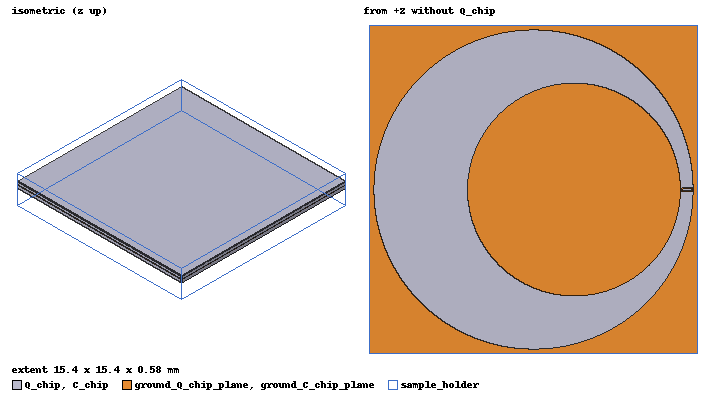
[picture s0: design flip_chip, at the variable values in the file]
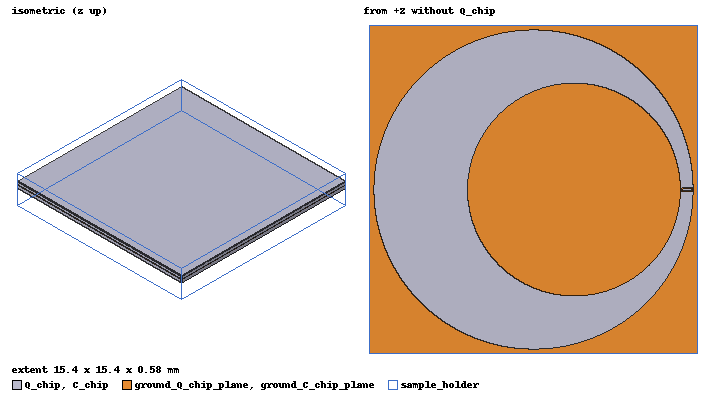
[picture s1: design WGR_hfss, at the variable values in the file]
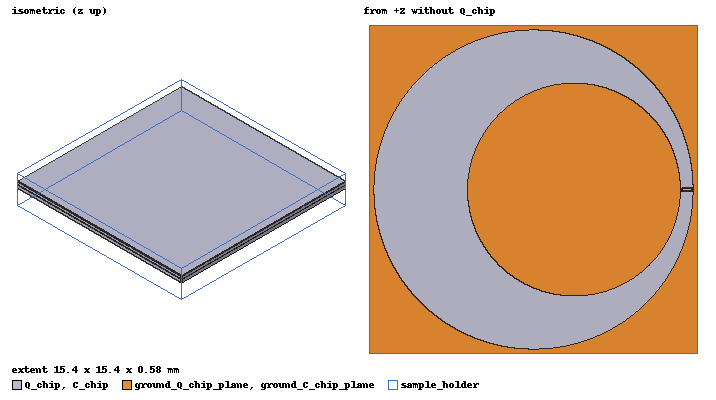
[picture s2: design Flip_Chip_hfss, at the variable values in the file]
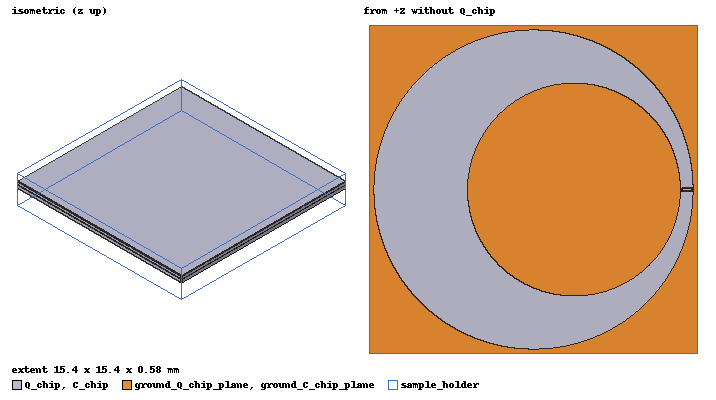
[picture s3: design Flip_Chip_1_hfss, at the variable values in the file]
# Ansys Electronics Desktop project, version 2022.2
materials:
  vacuum: permittivity=1
  silicon: permittivity=11.9

design flip_chip (HFSS, Eigenmode, model units mm)
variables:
  Lj = 10nH
  Cj = 0fF
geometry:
  final_design_3_0_Q1 = polyline(z=2e-05, xy: (0.0071770525, -0.0021771351) (0.0069290965, -0.0028701257) (0.0066144095, -0.0035354755) (0.0062360221, -0.0041667767) (0.0057975784, -0.0047579496) (0.0053033009, -0.0053033009) (0.0047579496, -0.0057975784) (0.0041667767, -0.0062360221) (0.0035354755, -0.0066144095) (0.0028701257, -0.0069290965) (0.0021771351, -0.0071770525) (0.0014631774, -0.0073558896) (0.00073512855, -0.0074638854) (0, -0.0075) (-0.00073512855, -0.0074638854) (-0.0014631774, -0.0073558896) (-0.0021771351, -0.0071770525) (-0.0028701257, -0.0069290965) (-0.0035354755, -0.0066144095) (-0.0041667767, -0.0062360221) (-0.0047579496, -0.0057975784) (-0.0053033009, -0.0053033009) (-0.0057975784, -0.0047579496) (-0.0062360221, -0.0041667767) (-0.0066144095, -0.0035354755) (-0.0069290965, -0.0028701257) (-0.0071770525, -0.0021771351) (-0.0073558896, -0.0014631774) (-0.0074638854, -0.00073512855) (-0.0075, 0) (-0.0074638854, 0.00073512855) (-0.0073558896, 0.0014631774) (-0.0071770525, 0.0021771351) (-0.0069290965, 0.0028701257) (-0.0066144095, 0.0035354755) (-0.0062360221, 0.0041667767) (-0.0057975784, 0.0047579496) (-0.0053033009, 0.0053033009) (-0.0047579496, 0.0057975784) (-0.0041667767, 0.0062360221) (-0.0035354755, 0.0066144095) (-0.0028701257, 0.0069290965) (-0.0021771351, 0.0071770525) (-0.0014631774, 0.0073558896) (-0.00073512855, 0.0074638854) (0, 0.0075) (0.00073512855, 0.0074638854) (0.0014631774, 0.0073558896) (0.0021771351, 0.0071770525) (0.0028701257, 0.0069290965) (0.0035354755, 0.0066144095) (0.0041667767, 0.0062360221) (0.0047579496, 0.0057975784) (0.0053033009, 0.0053033009) (0.0057975784, 0.0047579496) (0.0062360221, 0.0041667767) (0.0066144095, 0.0035354755) (0.0069290965, 0.0028701257) (0.0071770525, 0.0021771351) (0.0073558896, 0.0014631774) (0.0074638854, 0.00073512855) (0.0075, 0) (0.0074638854, -0.00073512855) (0.0073558896, -0.0014631774) (0.0071770525, -0.0021771351), closed, covered)
  Polyline1 = polyline(z=2e-05, xy: (0.00695, 0.000115) (0.00695, -0.000115) (0.00745, -0.000115) (0.00745, 0.000115) (0.00695, 0.000115), closed, covered)
  final_design_3_0_Q1.subtract(Polyline1)
  Polyline2 = polyline(z=2e-05, xy: (0.0068759236, 0.0004900857) (0.0068039264, 0.00097545161) (0.0066847017, 0.0014514234) (0.0065193977, 0.0019134172) (0.0063096063, 0.0023569837) (0.0060573481, 0.0027778512) (0.0057650523, 0.0031719664) (0.0054355339, 0.0035355339) (0.0050719664, 0.0038650523) (0.0046778512, 0.0041573481) (0.0042569837, 0.0044096063) (0.0038134172, 0.0046193977) (0.0033514234, 0.0047847017) (0.0028754516, 0.0049039264) (0.0023900857, 0.0049759236) (0.0019, 0.005) (0.0014099143, 0.0049759236) (0.00092454839, 0.0049039264) (0.00044857661, 0.0047847017) (-1.3417162e-05, 0.0046193977) (-0.00045698368, 0.0044096063) (-0.00087785117, 0.0041573481) (-0.0012719664, 0.0038650523) (-0.0016355339, 0.0035355339) (-0.0019650523, 0.0031719664) (-0.0022573481, 0.0027778512) (-0.0025096063, 0.0023569837) (-0.0027193977, 0.0019134172) (-0.0028847017, 0.0014514234) (-0.0030039264, 0.00097545161) (-0.0030759236, 0.0004900857) (-0.0031, 0) (-0.0030759236, -0.0004900857) (-0.0030039264, -0.00097545161) (-0.0028847017, -0.0014514234) (-0.0027193977, -0.0019134172) (-0.0025096063, -0.0023569837) (-0.0022573481, -0.0027778512) (-0.0019650523, -0.0031719664) (-0.0016355339, -0.0035355339) (-0.0012719664, -0.0038650523) (-0.00087785117, -0.0041573481) (-0.00045698368, -0.0044096063) (-1.3417162e-05, -0.0046193977) (0.00044857661, -0.0047847017) (0.00092454839, -0.0049039264) (0.0014099143, -0.0049759236) (0.0019, -0.005) (0.0023900857, -0.0049759236) (0.0028754516, -0.0049039264) (0.0033514234, -0.0047847017) (0.0038134172, -0.0046193977) (0.0042569837, -0.0044096063) (0.0046778512, -0.0041573481) (0.0050719664, -0.0038650523) (0.0054355339, -0.0035355339) (0.0057650523, -0.0031719664) (0.0060573481, -0.0027778512) (0.0063096063, -0.0023569837) (0.0065193977, -0.0019134172) (0.0066847017, -0.0014514234) (0.0068039264, -0.00097545161) (0.0068759236, -0.0004900857) (0.0069, 0) (0.0068759236, 0.0004900857), closed, covered)
  final_design_3_0_Q1.subtract(Polyline2)
  final_design_3_1_Q1 = rectangle(corner=(0.006975, -6e-05, 2e-05), x_size=0.00045, y_size=0.00012)
  final_design_3_Q2 = polyline(z=0, xy: (0.0074638854, -0.00073512855) (0.0073558896, -0.0014631774) (0.0071770525, -0.0021771351) (0.0069290965, -0.0028701257) (0.0066144095, -0.0035354755) (0.0062360221, -0.0041667767) (0.0057975784, -0.0047579496) (0.0053033009, -0.0053033009) (0.0047579496, -0.0057975784) (0.0041667767, -0.0062360221) (0.0035354755, -0.0066144095) (0.0028701257, -0.0069290965) (0.0021771351, -0.0071770525) (0.0014631774, -0.0073558896) (0.00073512855, -0.0074638854) (0, -0.0075) (-0.00073512855, -0.0074638854) (-0.0014631774, -0.0073558896) (-0.0021771351, -0.0071770525) (-0.0028701257, -0.0069290965) (-0.0035354755, -0.0066144095) (-0.0041667767, -0.0062360221) (-0.0047579496, -0.0057975784) (-0.0053033009, -0.0053033009) (-0.0057975784, -0.0047579496) (-0.0062360221, -0.0041667767) (-0.0066144095, -0.0035354755) (-0.0069290965, -0.0028701257) (-0.0071770525, -0.0021771351) (-0.0073558896, -0.0014631774) (-0.0074638854, -0.00073512855) (-0.0075, 0) (-0.0074638854, 0.00073512855) (-0.0073558896, 0.0014631774) (-0.0071770525, 0.0021771351) (-0.0069290965, 0.0028701257) (-0.0066144095, 0.0035354755) (-0.0062360221, 0.0041667767) (-0.0057975784, 0.0047579496) (-0.0053033009, 0.0053033009) (-0.0047579496, 0.0057975784) (-0.0041667767, 0.0062360221) (-0.0035354755, 0.0066144095) (-0.0028701257, 0.0069290965) (-0.0021771351, 0.0071770525) (-0.0014631774, 0.0073558896) (-0.00073512855, 0.0074638854) (0, 0.0075) (0.00073512855, 0.0074638854) (0.0014631774, 0.0073558896) (0.0021771351, 0.0071770525) (0.0028701257, 0.0069290965) (0.0035354755, 0.0066144095) (0.0041667767, 0.0062360221) (0.0047579496, 0.0057975784) (0.0053033009, 0.0053033009) (0.0057975784, 0.0047579496) (0.0062360221, 0.0041667767) (0.0066144095, 0.0035354755) (0.0069290965, 0.0028701257) (0.0071770525, 0.0021771351) (0.0073558896, 0.0014631774) (0.0074638854, 0.00073512855) (0.0075, 0) (0.0074638854, -0.00073512855), closed, covered)
  Polyline3 = polyline(z=0, xy: (0.0068759236, 0.0004900857) (0.0068039264, 0.00097545161) (0.0066847017, 0.0014514234) (0.0065193977, 0.0019134172) (0.0063096063, 0.0023569837) (0.0060573481, 0.0027778512) (0.0057650523, 0.0031719664) (0.0054355339, 0.0035355339) (0.0050719664, 0.0038650523) (0.0046778512, 0.0041573481) (0.0042569837, 0.0044096063) (0.0038134172, 0.0046193977) (0.0033514234, 0.0047847017) (0.0028754516, 0.0049039264) (0.0023900857, 0.0049759236) (0.0019, 0.005) (0.0014099143, 0.0049759236) (0.00092454839, 0.0049039264) (0.00044857661, 0.0047847017) (-1.3417162e-05, 0.0046193977) (-0.00045698368, 0.0044096063) (-0.00087785117, 0.0041573481) (-0.0012719664, 0.0038650523) (-0.0016355339, 0.0035355339) (-0.0019650523, 0.0031719664) (-0.0022573481, 0.0027778512) (-0.0025096063, 0.0023569837) (-0.0027193977, 0.0019134172) (-0.0028847017, 0.0014514234) (-0.0030039264, 0.00097545161) (-0.0030759236, 0.0004900857) (-0.0031, 0) (-0.0030759236, -0.0004900857) (-0.0030039264, -0.00097545161) (-0.0028847017, -0.0014514234) (-0.0027193977, -0.0019134172) (-0.0025096063, -0.0023569837) (-0.0022573481, -0.0027778512) (-0.0019650523, -0.0031719664) (-0.0016355339, -0.0035355339) (-0.0012719664, -0.0038650523) (-0.00087785117, -0.0041573481) (-0.00045698368, -0.0044096063) (-1.3417162e-05, -0.0046193977) (0.00044857661, -0.0047847017) (0.00092454839, -0.0049039264) (0.0014099143, -0.0049759236) (0.0019, -0.005) (0.0023900857, -0.0049759236) (0.0028754516, -0.0049039264) (0.0033514234, -0.0047847017) (0.0038134172, -0.0046193977) (0.0042569837, -0.0044096063) (0.0046778512, -0.0041573481) (0.0050719664, -0.0038650523) (0.0054355339, -0.0035355339) (0.0057650523, -0.0031719664) (0.0060573481, -0.0027778512) (0.0063096063, -0.0023569837) (0.0065193977, -0.0019134172) (0.0066847017, -0.0014514234) (0.0068039264, -0.00097545161) (0.0068759236, -0.0004900857) (0.0069, 0) (0.0068759236, 0.0004900857), closed, covered)
  final_design_3_Q2.subtract(Polyline3)
  JJ_rect_Lj_Q1_joseph = rectangle(corner=(0.00695, -1.25e-05, 2e-05), x_size=2.5e-05, y_size=2.5e-05)
  JJ_Lj_Q1_joseph_ = polyline((0.00695, 0, 2e-05) (0.006975, 0, 2e-05))
  ground_Q_chip_plane = rectangle(corner=(-0.0077, -0.0077, 2e-05), x_size=0.0154, y_size=0.0154)
  Q_chip [silicon] = box(corner=(-0.0077, -0.0077, 0.0003), size=(0.0154, 0.0154, -0.00028))
  ground_C_chip_plane = rectangle(corner=(-0.0077, -0.0077, 0), x_size=0.0154, y_size=0.0154)
  C_chip [silicon] = box(corner=(-0.0077, -0.0077, -0.00028), size=(0.0154, 0.0154, 0.00028))
  sample_holder [vacuum] = box(corner=(-0.0077, -0.0077, -0.00165), size=(0.0154, 0.0154, 0.00254))
  ground_Q_chip_plane.subtract(final_design_3_0_Q1, final_design_3_1_Q1)
  ground_C_chip_plane.subtract(final_design_3_Q2)
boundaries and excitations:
  Lj_Lj_Q1_joseph: Lumped RLC Objects=JJ_rect_Lj_Q1_joseph CurrentLine{(6.95, 0, 0.02) -> (6.975, 0, 0.02)} RLC_Type=Parallel Inductance=10nH
  PerfE: Perfect E Objects=[ground_Q_chip_plane, ground_C_chip_plane]
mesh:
  small_mesh: LengthBased Objects=JJ_rect_Lj_Q1_joseph MaxLength=7um
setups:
  Setup: HfssEigen MinimumFrequency=1GHz NumModes=3 MaxDeltaFreq=0.5 ConvergeOnRealFreq=true MaximumPasses=20 MinimumPasses=1 MinimumConvergedPasses=1 PercentRefinement=30 BasisOrder=1
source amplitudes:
  #-10:1: 1 0deg
  #-10:2, #-10:3: 0 0deg
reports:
  Freq. vs. pass: re(Mode(1)), re(Mode(2)), re(Mode(3)) vs Pass on Setup : AdaptivePass

design WGR_hfss (HFSS, Eigenmode, model units mm)
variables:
  Lj = 10nH
  Cj = 0fF
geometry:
  final_design_3_0_Q1 = polyline(z=2e-05, xy: (0.0071770525, -0.0021771351) (0.0069290965, -0.0028701257) (0.0066144095, -0.0035354755) (0.0062360221, -0.0041667767) (0.0057975784, -0.0047579496) (0.0053033009, -0.0053033009) (0.0047579496, -0.0057975784) (0.0041667767, -0.0062360221) (0.0035354755, -0.0066144095) (0.0028701257, -0.0069290965) (0.0021771351, -0.0071770525) (0.0014631774, -0.0073558896) (0.00073512855, -0.0074638854) (0, -0.0075) (-0.00073512855, -0.0074638854) (-0.0014631774, -0.0073558896) (-0.0021771351, -0.0071770525) (-0.0028701257, -0.0069290965) (-0.0035354755, -0.0066144095) (-0.0041667767, -0.0062360221) (-0.0047579496, -0.0057975784) (-0.0053033009, -0.0053033009) (-0.0057975784, -0.0047579496) (-0.0062360221, -0.0041667767) (-0.0066144095, -0.0035354755) (-0.0069290965, -0.0028701257) (-0.0071770525, -0.0021771351) (-0.0073558896, -0.0014631774) (-0.0074638854, -0.00073512855) (-0.0075, 0) (-0.0074638854, 0.00073512855) (-0.0073558896, 0.0014631774) (-0.0071770525, 0.0021771351) (-0.0069290965, 0.0028701257) (-0.0066144095, 0.0035354755) (-0.0062360221, 0.0041667767) (-0.0057975784, 0.0047579496) (-0.0053033009, 0.0053033009) (-0.0047579496, 0.0057975784) (-0.0041667767, 0.0062360221) (-0.0035354755, 0.0066144095) (-0.0028701257, 0.0069290965) (-0.0021771351, 0.0071770525) (-0.0014631774, 0.0073558896) (-0.00073512855, 0.0074638854) (0, 0.0075) (0.00073512855, 0.0074638854) (0.0014631774, 0.0073558896) (0.0021771351, 0.0071770525) (0.0028701257, 0.0069290965) (0.0035354755, 0.0066144095) (0.0041667767, 0.0062360221) (0.0047579496, 0.0057975784) (0.0053033009, 0.0053033009) (0.0057975784, 0.0047579496) (0.0062360221, 0.0041667767) (0.0066144095, 0.0035354755) (0.0069290965, 0.0028701257) (0.0071770525, 0.0021771351) (0.0073558896, 0.0014631774) (0.0074638854, 0.00073512855) (0.0075, 0) (0.0074638854, -0.00073512855) (0.0073558896, -0.0014631774) (0.0071770525, -0.0021771351), closed, covered)
  Polyline1 = polyline(z=2e-05, xy: (0.00695, 0.000115) (0.00695, -0.000115) (0.00745, -0.000115) (0.00745, 0.000115) (0.00695, 0.000115), closed, covered)
  final_design_3_0_Q1.subtract(Polyline1)
  Polyline2 = polyline(z=2e-05, xy: (0.0068759236, 0.0004900857) (0.0068039264, 0.00097545161) (0.0066847017, 0.0014514234) (0.0065193977, 0.0019134172) (0.0063096063, 0.0023569837) (0.0060573481, 0.0027778512) (0.0057650523, 0.0031719664) (0.0054355339, 0.0035355339) (0.0050719664, 0.0038650523) (0.0046778512, 0.0041573481) (0.0042569837, 0.0044096063) (0.0038134172, 0.0046193977) (0.0033514234, 0.0047847017) (0.0028754516, 0.0049039264) (0.0023900857, 0.0049759236) (0.0019, 0.005) (0.0014099143, 0.0049759236) (0.00092454839, 0.0049039264) (0.00044857661, 0.0047847017) (-1.3417162e-05, 0.0046193977) (-0.00045698368, 0.0044096063) (-0.00087785117, 0.0041573481) (-0.0012719664, 0.0038650523) (-0.0016355339, 0.0035355339) (-0.0019650523, 0.0031719664) (-0.0022573481, 0.0027778512) (-0.0025096063, 0.0023569837) (-0.0027193977, 0.0019134172) (-0.0028847017, 0.0014514234) (-0.0030039264, 0.00097545161) (-0.0030759236, 0.0004900857) (-0.0031, 0) (-0.0030759236, -0.0004900857) (-0.0030039264, -0.00097545161) (-0.0028847017, -0.0014514234) (-0.0027193977, -0.0019134172) (-0.0025096063, -0.0023569837) (-0.0022573481, -0.0027778512) (-0.0019650523, -0.0031719664) (-0.0016355339, -0.0035355339) (-0.0012719664, -0.0038650523) (-0.00087785117, -0.0041573481) (-0.00045698368, -0.0044096063) (-1.3417162e-05, -0.0046193977) (0.00044857661, -0.0047847017) (0.00092454839, -0.0049039264) (0.0014099143, -0.0049759236) (0.0019, -0.005) (0.0023900857, -0.0049759236) (0.0028754516, -0.0049039264) (0.0033514234, -0.0047847017) (0.0038134172, -0.0046193977) (0.0042569837, -0.0044096063) (0.0046778512, -0.0041573481) (0.0050719664, -0.0038650523) (0.0054355339, -0.0035355339) (0.0057650523, -0.0031719664) (0.0060573481, -0.0027778512) (0.0063096063, -0.0023569837) (0.0065193977, -0.0019134172) (0.0066847017, -0.0014514234) (0.0068039264, -0.00097545161) (0.0068759236, -0.0004900857) (0.0069, 0) (0.0068759236, 0.0004900857), closed, covered)
  final_design_3_0_Q1.subtract(Polyline2)
  final_design_3_1_Q1 = rectangle(corner=(0.006975, -6e-05, 2e-05), x_size=0.00045, y_size=0.00012)
  final_design_3_Q2 = polyline(z=0, xy: (0.0074638854, -0.00073512855) (0.0073558896, -0.0014631774) (0.0071770525, -0.0021771351) (0.0069290965, -0.0028701257) (0.0066144095, -0.0035354755) (0.0062360221, -0.0041667767) (0.0057975784, -0.0047579496) (0.0053033009, -0.0053033009) (0.0047579496, -0.0057975784) (0.0041667767, -0.0062360221) (0.0035354755, -0.0066144095) (0.0028701257, -0.0069290965) (0.0021771351, -0.0071770525) (0.0014631774, -0.0073558896) (0.00073512855, -0.0074638854) (0, -0.0075) (-0.00073512855, -0.0074638854) (-0.0014631774, -0.0073558896) (-0.0021771351, -0.0071770525) (-0.0028701257, -0.0069290965) (-0.0035354755, -0.0066144095) (-0.0041667767, -0.0062360221) (-0.0047579496, -0.0057975784) (-0.0053033009, -0.0053033009) (-0.0057975784, -0.0047579496) (-0.0062360221, -0.0041667767) (-0.0066144095, -0.0035354755) (-0.0069290965, -0.0028701257) (-0.0071770525, -0.0021771351) (-0.0073558896, -0.0014631774) (-0.0074638854, -0.00073512855) (-0.0075, 0) (-0.0074638854, 0.00073512855) (-0.0073558896, 0.0014631774) (-0.0071770525, 0.0021771351) (-0.0069290965, 0.0028701257) (-0.0066144095, 0.0035354755) (-0.0062360221, 0.0041667767) (-0.0057975784, 0.0047579496) (-0.0053033009, 0.0053033009) (-0.0047579496, 0.0057975784) (-0.0041667767, 0.0062360221) (-0.0035354755, 0.0066144095) (-0.0028701257, 0.0069290965) (-0.0021771351, 0.0071770525) (-0.0014631774, 0.0073558896) (-0.00073512855, 0.0074638854) (0, 0.0075) (0.00073512855, 0.0074638854) (0.0014631774, 0.0073558896) (0.0021771351, 0.0071770525) (0.0028701257, 0.0069290965) (0.0035354755, 0.0066144095) (0.0041667767, 0.0062360221) (0.0047579496, 0.0057975784) (0.0053033009, 0.0053033009) (0.0057975784, 0.0047579496) (0.0062360221, 0.0041667767) (0.0066144095, 0.0035354755) (0.0069290965, 0.0028701257) (0.0071770525, 0.0021771351) (0.0073558896, 0.0014631774) (0.0074638854, 0.00073512855) (0.0075, 0) (0.0074638854, -0.00073512855), closed, covered)
  Polyline3 = polyline(z=0, xy: (0.0068759236, 0.0004900857) (0.0068039264, 0.00097545161) (0.0066847017, 0.0014514234) (0.0065193977, 0.0019134172) (0.0063096063, 0.0023569837) (0.0060573481, 0.0027778512) (0.0057650523, 0.0031719664) (0.0054355339, 0.0035355339) (0.0050719664, 0.0038650523) (0.0046778512, 0.0041573481) (0.0042569837, 0.0044096063) (0.0038134172, 0.0046193977) (0.0033514234, 0.0047847017) (0.0028754516, 0.0049039264) (0.0023900857, 0.0049759236) (0.0019, 0.005) (0.0014099143, 0.0049759236) (0.00092454839, 0.0049039264) (0.00044857661, 0.0047847017) (-1.3417162e-05, 0.0046193977) (-0.00045698368, 0.0044096063) (-0.00087785117, 0.0041573481) (-0.0012719664, 0.0038650523) (-0.0016355339, 0.0035355339) (-0.0019650523, 0.0031719664) (-0.0022573481, 0.0027778512) (-0.0025096063, 0.0023569837) (-0.0027193977, 0.0019134172) (-0.0028847017, 0.0014514234) (-0.0030039264, 0.00097545161) (-0.0030759236, 0.0004900857) (-0.0031, 0) (-0.0030759236, -0.0004900857) (-0.0030039264, -0.00097545161) (-0.0028847017, -0.0014514234) (-0.0027193977, -0.0019134172) (-0.0025096063, -0.0023569837) (-0.0022573481, -0.0027778512) (-0.0019650523, -0.0031719664) (-0.0016355339, -0.0035355339) (-0.0012719664, -0.0038650523) (-0.00087785117, -0.0041573481) (-0.00045698368, -0.0044096063) (-1.3417162e-05, -0.0046193977) (0.00044857661, -0.0047847017) (0.00092454839, -0.0049039264) (0.0014099143, -0.0049759236) (0.0019, -0.005) (0.0023900857, -0.0049759236) (0.0028754516, -0.0049039264) (0.0033514234, -0.0047847017) (0.0038134172, -0.0046193977) (0.0042569837, -0.0044096063) (0.0046778512, -0.0041573481) (0.0050719664, -0.0038650523) (0.0054355339, -0.0035355339) (0.0057650523, -0.0031719664) (0.0060573481, -0.0027778512) (0.0063096063, -0.0023569837) (0.0065193977, -0.0019134172) (0.0066847017, -0.0014514234) (0.0068039264, -0.00097545161) (0.0068759236, -0.0004900857) (0.0069, 0) (0.0068759236, 0.0004900857), closed, covered)
  final_design_3_Q2.subtract(Polyline3)
  JJ_rect_Lj_Q1_joseph = rectangle(corner=(0.00695, -1.25e-05, 2e-05), x_size=2.5e-05, y_size=2.5e-05)
  JJ_Lj_Q1_joseph_ = polyline((0.00695, 0, 2e-05) (0.006975, 0, 2e-05))
  ground_Q_chip_plane = rectangle(corner=(-0.0077, -0.0077, 2e-05), x_size=0.0154, y_size=0.0154)
  Q_chip [silicon] = box(corner=(-0.0077, -0.0077, 0.0003), size=(0.0154, 0.0154, -0.00028))
  ground_C_chip_plane = rectangle(corner=(-0.0077, -0.0077, 0), x_size=0.0154, y_size=0.0154)
  C_chip [silicon] = box(corner=(-0.0077, -0.0077, -0.00028), size=(0.0154, 0.0154, 0.00028))
  sample_holder [vacuum] = box(corner=(-0.0077, -0.0077, -0.00165), size=(0.0154, 0.0154, 0.00254))
  ground_Q_chip_plane.subtract(final_design_3_1_Q1, final_design_3_0_Q1)
  ground_C_chip_plane.subtract(final_design_3_Q2)
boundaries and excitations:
  Lj_Lj_Q1_joseph: Lumped RLC Objects=JJ_rect_Lj_Q1_joseph CurrentLine{(6.95, 0, 0.02) -> (6.975, 0, 0.02)} RLC_Type=Parallel Inductance=10nH
  PerfE: Perfect E Objects=[ground_Q_chip_plane, ground_C_chip_plane]
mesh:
  small_mesh: LengthBased Objects=JJ_rect_Lj_Q1_joseph MaxLength=7um
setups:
  Setup: HfssEigen MinimumFrequency=1.5GHz NumModes=3 MaxDeltaFreq=2 ConvergeOnRealFreq=true MaximumPasses=20 MinimumPasses=1 MinimumConvergedPasses=1 PercentRefinement=30 BasisOrder=1
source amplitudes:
  #-10:1: 1 0deg
  #-10:2, #-10:3: 0 0deg
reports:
  Freq. vs. pass: re(Mode(1)), re(Mode(2)), re(Mode(3)) vs Pass on Setup : AdaptivePass

design Flip_Chip_hfss (HFSS, Eigenmode, model units mm)
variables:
  Lj = 10nH
  Cj = 0fF
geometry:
  final_design_3_0_Q1 = polyline(z=2e-05, xy: (0.0071770525, -0.0021771351) (0.0069290965, -0.0028701257) (0.0066144095, -0.0035354755) (0.0062360221, -0.0041667767) (0.0057975784, -0.0047579496) (0.0053033009, -0.0053033009) (0.0047579496, -0.0057975784) (0.0041667767, -0.0062360221) (0.0035354755, -0.0066144095) (0.0028701257, -0.0069290965) (0.0021771351, -0.0071770525) (0.0014631774, -0.0073558896) (0.00073512855, -0.0074638854) (0, -0.0075) (-0.00073512855, -0.0074638854) (-0.0014631774, -0.0073558896) (-0.0021771351, -0.0071770525) (-0.0028701257, -0.0069290965) (-0.0035354755, -0.0066144095) (-0.0041667767, -0.0062360221) (-0.0047579496, -0.0057975784) (-0.0053033009, -0.0053033009) (-0.0057975784, -0.0047579496) (-0.0062360221, -0.0041667767) (-0.0066144095, -0.0035354755) (-0.0069290965, -0.0028701257) (-0.0071770525, -0.0021771351) (-0.0073558896, -0.0014631774) (-0.0074638854, -0.00073512855) (-0.0075, 0) (-0.0074638854, 0.00073512855) (-0.0073558896, 0.0014631774) (-0.0071770525, 0.0021771351) (-0.0069290965, 0.0028701257) (-0.0066144095, 0.0035354755) (-0.0062360221, 0.0041667767) (-0.0057975784, 0.0047579496) (-0.0053033009, 0.0053033009) (-0.0047579496, 0.0057975784) (-0.0041667767, 0.0062360221) (-0.0035354755, 0.0066144095) (-0.0028701257, 0.0069290965) (-0.0021771351, 0.0071770525) (-0.0014631774, 0.0073558896) (-0.00073512855, 0.0074638854) (0, 0.0075) (0.00073512855, 0.0074638854) (0.0014631774, 0.0073558896) (0.0021771351, 0.0071770525) (0.0028701257, 0.0069290965) (0.0035354755, 0.0066144095) (0.0041667767, 0.0062360221) (0.0047579496, 0.0057975784) (0.0053033009, 0.0053033009) (0.0057975784, 0.0047579496) (0.0062360221, 0.0041667767) (0.0066144095, 0.0035354755) (0.0069290965, 0.0028701257) (0.0071770525, 0.0021771351) (0.0073558896, 0.0014631774) (0.0074638854, 0.00073512855) (0.0075, 0) (0.0074638854, -0.00073512855) (0.0073558896, -0.0014631774) (0.0071770525, -0.0021771351), closed, covered)
  Polyline1 = polyline(z=2e-05, xy: (0.00695, 0.000115) (0.00695, -0.000115) (0.00745, -0.000115) (0.00745, 0.000115) (0.00695, 0.000115), closed, covered)
  final_design_3_0_Q1.subtract(Polyline1)
  Polyline2 = polyline(z=2e-05, xy: (0.0068759236, 0.0004900857) (0.0068039264, 0.00097545161) (0.0066847017, 0.0014514234) (0.0065193977, 0.0019134172) (0.0063096063, 0.0023569837) (0.0060573481, 0.0027778512) (0.0057650523, 0.0031719664) (0.0054355339, 0.0035355339) (0.0050719664, 0.0038650523) (0.0046778512, 0.0041573481) (0.0042569837, 0.0044096063) (0.0038134172, 0.0046193977) (0.0033514234, 0.0047847017) (0.0028754516, 0.0049039264) (0.0023900857, 0.0049759236) (0.0019, 0.005) (0.0014099143, 0.0049759236) (0.00092454839, 0.0049039264) (0.00044857661, 0.0047847017) (-1.3417162e-05, 0.0046193977) (-0.00045698368, 0.0044096063) (-0.00087785117, 0.0041573481) (-0.0012719664, 0.0038650523) (-0.0016355339, 0.0035355339) (-0.0019650523, 0.0031719664) (-0.0022573481, 0.0027778512) (-0.0025096063, 0.0023569837) (-0.0027193977, 0.0019134172) (-0.0028847017, 0.0014514234) (-0.0030039264, 0.00097545161) (-0.0030759236, 0.0004900857) (-0.0031, 0) (-0.0030759236, -0.0004900857) (-0.0030039264, -0.00097545161) (-0.0028847017, -0.0014514234) (-0.0027193977, -0.0019134172) (-0.0025096063, -0.0023569837) (-0.0022573481, -0.0027778512) (-0.0019650523, -0.0031719664) (-0.0016355339, -0.0035355339) (-0.0012719664, -0.0038650523) (-0.00087785117, -0.0041573481) (-0.00045698368, -0.0044096063) (-1.3417162e-05, -0.0046193977) (0.00044857661, -0.0047847017) (0.00092454839, -0.0049039264) (0.0014099143, -0.0049759236) (0.0019, -0.005) (0.0023900857, -0.0049759236) (0.0028754516, -0.0049039264) (0.0033514234, -0.0047847017) (0.0038134172, -0.0046193977) (0.0042569837, -0.0044096063) (0.0046778512, -0.0041573481) (0.0050719664, -0.0038650523) (0.0054355339, -0.0035355339) (0.0057650523, -0.0031719664) (0.0060573481, -0.0027778512) (0.0063096063, -0.0023569837) (0.0065193977, -0.0019134172) (0.0066847017, -0.0014514234) (0.0068039264, -0.00097545161) (0.0068759236, -0.0004900857) (0.0069, 0) (0.0068759236, 0.0004900857), closed, covered)
  final_design_3_0_Q1.subtract(Polyline2)
  final_design_3_1_Q1 = rectangle(corner=(0.006975, -6e-05, 2e-05), x_size=0.00045, y_size=0.00012)
  final_design_3_Q2 = polyline(z=0, xy: (0.0074638854, -0.00073512855) (0.0073558896, -0.0014631774) (0.0071770525, -0.0021771351) (0.0069290965, -0.0028701257) (0.0066144095, -0.0035354755) (0.0062360221, -0.0041667767) (0.0057975784, -0.0047579496) (0.0053033009, -0.0053033009) (0.0047579496, -0.0057975784) (0.0041667767, -0.0062360221) (0.0035354755, -0.0066144095) (0.0028701257, -0.0069290965) (0.0021771351, -0.0071770525) (0.0014631774, -0.0073558896) (0.00073512855, -0.0074638854) (0, -0.0075) (-0.00073512855, -0.0074638854) (-0.0014631774, -0.0073558896) (-0.0021771351, -0.0071770525) (-0.0028701257, -0.0069290965) (-0.0035354755, -0.0066144095) (-0.0041667767, -0.0062360221) (-0.0047579496, -0.0057975784) (-0.0053033009, -0.0053033009) (-0.0057975784, -0.0047579496) (-0.0062360221, -0.0041667767) (-0.0066144095, -0.0035354755) (-0.0069290965, -0.0028701257) (-0.0071770525, -0.0021771351) (-0.0073558896, -0.0014631774) (-0.0074638854, -0.00073512855) (-0.0075, 0) (-0.0074638854, 0.00073512855) (-0.0073558896, 0.0014631774) (-0.0071770525, 0.0021771351) (-0.0069290965, 0.0028701257) (-0.0066144095, 0.0035354755) (-0.0062360221, 0.0041667767) (-0.0057975784, 0.0047579496) (-0.0053033009, 0.0053033009) (-0.0047579496, 0.0057975784) (-0.0041667767, 0.0062360221) (-0.0035354755, 0.0066144095) (-0.0028701257, 0.0069290965) (-0.0021771351, 0.0071770525) (-0.0014631774, 0.0073558896) (-0.00073512855, 0.0074638854) (0, 0.0075) (0.00073512855, 0.0074638854) (0.0014631774, 0.0073558896) (0.0021771351, 0.0071770525) (0.0028701257, 0.0069290965) (0.0035354755, 0.0066144095) (0.0041667767, 0.0062360221) (0.0047579496, 0.0057975784) (0.0053033009, 0.0053033009) (0.0057975784, 0.0047579496) (0.0062360221, 0.0041667767) (0.0066144095, 0.0035354755) (0.0069290965, 0.0028701257) (0.0071770525, 0.0021771351) (0.0073558896, 0.0014631774) (0.0074638854, 0.00073512855) (0.0075, 0) (0.0074638854, -0.00073512855), closed, covered)
  Polyline3 = polyline(z=0, xy: (0.0068759236, 0.0004900857) (0.0068039264, 0.00097545161) (0.0066847017, 0.0014514234) (0.0065193977, 0.0019134172) (0.0063096063, 0.0023569837) (0.0060573481, 0.0027778512) (0.0057650523, 0.0031719664) (0.0054355339, 0.0035355339) (0.0050719664, 0.0038650523) (0.0046778512, 0.0041573481) (0.0042569837, 0.0044096063) (0.0038134172, 0.0046193977) (0.0033514234, 0.0047847017) (0.0028754516, 0.0049039264) (0.0023900857, 0.0049759236) (0.0019, 0.005) (0.0014099143, 0.0049759236) (0.00092454839, 0.0049039264) (0.00044857661, 0.0047847017) (-1.3417162e-05, 0.0046193977) (-0.00045698368, 0.0044096063) (-0.00087785117, 0.0041573481) (-0.0012719664, 0.0038650523) (-0.0016355339, 0.0035355339) (-0.0019650523, 0.0031719664) (-0.0022573481, 0.0027778512) (-0.0025096063, 0.0023569837) (-0.0027193977, 0.0019134172) (-0.0028847017, 0.0014514234) (-0.0030039264, 0.00097545161) (-0.0030759236, 0.0004900857) (-0.0031, 0) (-0.0030759236, -0.0004900857) (-0.0030039264, -0.00097545161) (-0.0028847017, -0.0014514234) (-0.0027193977, -0.0019134172) (-0.0025096063, -0.0023569837) (-0.0022573481, -0.0027778512) (-0.0019650523, -0.0031719664) (-0.0016355339, -0.0035355339) (-0.0012719664, -0.0038650523) (-0.00087785117, -0.0041573481) (-0.00045698368, -0.0044096063) (-1.3417162e-05, -0.0046193977) (0.00044857661, -0.0047847017) (0.00092454839, -0.0049039264) (0.0014099143, -0.0049759236) (0.0019, -0.005) (0.0023900857, -0.0049759236) (0.0028754516, -0.0049039264) (0.0033514234, -0.0047847017) (0.0038134172, -0.0046193977) (0.0042569837, -0.0044096063) (0.0046778512, -0.0041573481) (0.0050719664, -0.0038650523) (0.0054355339, -0.0035355339) (0.0057650523, -0.0031719664) (0.0060573481, -0.0027778512) (0.0063096063, -0.0023569837) (0.0065193977, -0.0019134172) (0.0066847017, -0.0014514234) (0.0068039264, -0.00097545161) (0.0068759236, -0.0004900857) (0.0069, 0) (0.0068759236, 0.0004900857), closed, covered)
  final_design_3_Q2.subtract(Polyline3)
  JJ_rect_Lj_Q1_joseph = rectangle(corner=(0.00695, -2.5e-05, 2e-05), x_size=2.5e-05, y_size=5e-05)
  JJ_Lj_Q1_joseph_ = polyline((0.00695, 0, 2e-05) (0.006975, 0, 2e-05))
  ground_Q_chip_plane = rectangle(corner=(-0.0077, -0.0077, 2e-05), x_size=0.0154, y_size=0.0154)
  Q_chip [silicon] = box(corner=(-0.0077, -0.0077, 0.0003), size=(0.0154, 0.0154, -0.00028))
  ground_C_chip_plane = rectangle(corner=(-0.0077, -0.0077, 0), x_size=0.0154, y_size=0.0154)
  C_chip [silicon] = box(corner=(-0.0077, -0.0077, -0.00028), size=(0.0154, 0.0154, 0.00028))
  sample_holder [vacuum] = box(corner=(-0.0077, -0.0077, -0.00165), size=(0.0154, 0.0154, 0.00254))
  ground_Q_chip_plane.subtract(final_design_3_1_Q1, final_design_3_0_Q1)
  ground_C_chip_plane.subtract(final_design_3_Q2)
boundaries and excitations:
  Lj_Lj_Q1_joseph: Lumped RLC Objects=JJ_rect_Lj_Q1_joseph CurrentLine{(6.95, 0, 0.02) -> (6.975, 0, 0.02)} RLC_Type=Parallel Inductance=10nH
  PerfE: Perfect E Objects=[ground_Q_chip_plane, ground_C_chip_plane]
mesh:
  small_mesh: LengthBased Objects=JJ_rect_Lj_Q1_joseph MaxLength=7um
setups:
  Setup: HfssEigen MinimumFrequency=1.5GHz NumModes=3 MaxDeltaFreq=2 ConvergeOnRealFreq=true MaximumPasses=20 MinimumPasses=1 MinimumConvergedPasses=1 PercentRefinement=30 BasisOrder=1
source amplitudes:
  #-10:1: 1 0deg
  #-10:2, #-10:3: 0 0deg
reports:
  Freq. vs. pass: re(Mode(1)), re(Mode(2)), re(Mode(3)) vs Pass on Setup : AdaptivePass

design Flip_Chip_1_hfss (HFSS, Eigenmode, model units mm)
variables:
  Lj = 10nH
  Cj = 0fF
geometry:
  final_design_3_0_Q1 = polyline(z=2e-05, xy: (0.0071770525, -0.0021771351) (0.0069290965, -0.0028701257) (0.0066144095, -0.0035354755) (0.0062360221, -0.0041667767) (0.0057975784, -0.0047579496) (0.0053033009, -0.0053033009) (0.0047579496, -0.0057975784) (0.0041667767, -0.0062360221) (0.0035354755, -0.0066144095) (0.0028701257, -0.0069290965) (0.0021771351, -0.0071770525) (0.0014631774, -0.0073558896) (0.00073512855, -0.0074638854) (0, -0.0075) (-0.00073512855, -0.0074638854) (-0.0014631774, -0.0073558896) (-0.0021771351, -0.0071770525) (-0.0028701257, -0.0069290965) (-0.0035354755, -0.0066144095) (-0.0041667767, -0.0062360221) (-0.0047579496, -0.0057975784) (-0.0053033009, -0.0053033009) (-0.0057975784, -0.0047579496) (-0.0062360221, -0.0041667767) (-0.0066144095, -0.0035354755) (-0.0069290965, -0.0028701257) (-0.0071770525, -0.0021771351) (-0.0073558896, -0.0014631774) (-0.0074638854, -0.00073512855) (-0.0075, 0) (-0.0074638854, 0.00073512855) (-0.0073558896, 0.0014631774) (-0.0071770525, 0.0021771351) (-0.0069290965, 0.0028701257) (-0.0066144095, 0.0035354755) (-0.0062360221, 0.0041667767) (-0.0057975784, 0.0047579496) (-0.0053033009, 0.0053033009) (-0.0047579496, 0.0057975784) (-0.0041667767, 0.0062360221) (-0.0035354755, 0.0066144095) (-0.0028701257, 0.0069290965) (-0.0021771351, 0.0071770525) (-0.0014631774, 0.0073558896) (-0.00073512855, 0.0074638854) (0, 0.0075) (0.00073512855, 0.0074638854) (0.0014631774, 0.0073558896) (0.0021771351, 0.0071770525) (0.0028701257, 0.0069290965) (0.0035354755, 0.0066144095) (0.0041667767, 0.0062360221) (0.0047579496, 0.0057975784) (0.0053033009, 0.0053033009) (0.0057975784, 0.0047579496) (0.0062360221, 0.0041667767) (0.0066144095, 0.0035354755) (0.0069290965, 0.0028701257) (0.0071770525, 0.0021771351) (0.0073558896, 0.0014631774) (0.0074638854, 0.00073512855) (0.0075, 0) (0.0074638854, -0.00073512855) (0.0073558896, -0.0014631774) (0.0071770525, -0.0021771351), closed, covered)
  Polyline1 = polyline(z=2e-05, xy: (0.00695, 0.000115) (0.00695, -0.000115) (0.00745, -0.000115) (0.00745, 0.000115) (0.00695, 0.000115), closed, covered)
  final_design_3_0_Q1.subtract(Polyline1)
  Polyline2 = polyline(z=2e-05, xy: (0.0068759236, 0.0004900857) (0.0068039264, 0.00097545161) (0.0066847017, 0.0014514234) (0.0065193977, 0.0019134172) (0.0063096063, 0.0023569837) (0.0060573481, 0.0027778512) (0.0057650523, 0.0031719664) (0.0054355339, 0.0035355339) (0.0050719664, 0.0038650523) (0.0046778512, 0.0041573481) (0.0042569837, 0.0044096063) (0.0038134172, 0.0046193977) (0.0033514234, 0.0047847017) (0.0028754516, 0.0049039264) (0.0023900857, 0.0049759236) (0.0019, 0.005) (0.0014099143, 0.0049759236) (0.00092454839, 0.0049039264) (0.00044857661, 0.0047847017) (-1.3417162e-05, 0.0046193977) (-0.00045698368, 0.0044096063) (-0.00087785117, 0.0041573481) (-0.0012719664, 0.0038650523) (-0.0016355339, 0.0035355339) (-0.0019650523, 0.0031719664) (-0.0022573481, 0.0027778512) (-0.0025096063, 0.0023569837) (-0.0027193977, 0.0019134172) (-0.0028847017, 0.0014514234) (-0.0030039264, 0.00097545161) (-0.0030759236, 0.0004900857) (-0.0031, 0) (-0.0030759236, -0.0004900857) (-0.0030039264, -0.00097545161) (-0.0028847017, -0.0014514234) (-0.0027193977, -0.0019134172) (-0.0025096063, -0.0023569837) (-0.0022573481, -0.0027778512) (-0.0019650523, -0.0031719664) (-0.0016355339, -0.0035355339) (-0.0012719664, -0.0038650523) (-0.00087785117, -0.0041573481) (-0.00045698368, -0.0044096063) (-1.3417162e-05, -0.0046193977) (0.00044857661, -0.0047847017) (0.00092454839, -0.0049039264) (0.0014099143, -0.0049759236) (0.0019, -0.005) (0.0023900857, -0.0049759236) (0.0028754516, -0.0049039264) (0.0033514234, -0.0047847017) (0.0038134172, -0.0046193977) (0.0042569837, -0.0044096063) (0.0046778512, -0.0041573481) (0.0050719664, -0.0038650523) (0.0054355339, -0.0035355339) (0.0057650523, -0.0031719664) (0.0060573481, -0.0027778512) (0.0063096063, -0.0023569837) (0.0065193977, -0.0019134172) (0.0066847017, -0.0014514234) (0.0068039264, -0.00097545161) (0.0068759236, -0.0004900857) (0.0069, 0) (0.0068759236, 0.0004900857), closed, covered)
  final_design_3_0_Q1.subtract(Polyline2)
  final_design_3_1_Q1 = rectangle(corner=(0.006975, -6e-05, 2e-05), x_size=0.00045, y_size=0.00012)
  final_design_3_Q2 = polyline(z=0, xy: (0.0074638854, -0.00073512855) (0.0073558896, -0.0014631774) (0.0071770525, -0.0021771351) (0.0069290965, -0.0028701257) (0.0066144095, -0.0035354755) (0.0062360221, -0.0041667767) (0.0057975784, -0.0047579496) (0.0053033009, -0.0053033009) (0.0047579496, -0.0057975784) (0.0041667767, -0.0062360221) (0.0035354755, -0.0066144095) (0.0028701257, -0.0069290965) (0.0021771351, -0.0071770525) (0.0014631774, -0.0073558896) (0.00073512855, -0.0074638854) (0, -0.0075) (-0.00073512855, -0.0074638854) (-0.0014631774, -0.0073558896) (-0.0021771351, -0.0071770525) (-0.0028701257, -0.0069290965) (-0.0035354755, -0.0066144095) (-0.0041667767, -0.0062360221) (-0.0047579496, -0.0057975784) (-0.0053033009, -0.0053033009) (-0.0057975784, -0.0047579496) (-0.0062360221, -0.0041667767) (-0.0066144095, -0.0035354755) (-0.0069290965, -0.0028701257) (-0.0071770525, -0.0021771351) (-0.0073558896, -0.0014631774) (-0.0074638854, -0.00073512855) (-0.0075, 0) (-0.0074638854, 0.00073512855) (-0.0073558896, 0.0014631774) (-0.0071770525, 0.0021771351) (-0.0069290965, 0.0028701257) (-0.0066144095, 0.0035354755) (-0.0062360221, 0.0041667767) (-0.0057975784, 0.0047579496) (-0.0053033009, 0.0053033009) (-0.0047579496, 0.0057975784) (-0.0041667767, 0.0062360221) (-0.0035354755, 0.0066144095) (-0.0028701257, 0.0069290965) (-0.0021771351, 0.0071770525) (-0.0014631774, 0.0073558896) (-0.00073512855, 0.0074638854) (0, 0.0075) (0.00073512855, 0.0074638854) (0.0014631774, 0.0073558896) (0.0021771351, 0.0071770525) (0.0028701257, 0.0069290965) (0.0035354755, 0.0066144095) (0.0041667767, 0.0062360221) (0.0047579496, 0.0057975784) (0.0053033009, 0.0053033009) (0.0057975784, 0.0047579496) (0.0062360221, 0.0041667767) (0.0066144095, 0.0035354755) (0.0069290965, 0.0028701257) (0.0071770525, 0.0021771351) (0.0073558896, 0.0014631774) (0.0074638854, 0.00073512855) (0.0075, 0) (0.0074638854, -0.00073512855), closed, covered)
  Polyline3 = polyline(z=0, xy: (0.0068759236, 0.0004900857) (0.0068039264, 0.00097545161) (0.0066847017, 0.0014514234) (0.0065193977, 0.0019134172) (0.0063096063, 0.0023569837) (0.0060573481, 0.0027778512) (0.0057650523, 0.0031719664) (0.0054355339, 0.0035355339) (0.0050719664, 0.0038650523) (0.0046778512, 0.0041573481) (0.0042569837, 0.0044096063) (0.0038134172, 0.0046193977) (0.0033514234, 0.0047847017) (0.0028754516, 0.0049039264) (0.0023900857, 0.0049759236) (0.0019, 0.005) (0.0014099143, 0.0049759236) (0.00092454839, 0.0049039264) (0.00044857661, 0.0047847017) (-1.3417162e-05, 0.0046193977) (-0.00045698368, 0.0044096063) (-0.00087785117, 0.0041573481) (-0.0012719664, 0.0038650523) (-0.0016355339, 0.0035355339) (-0.0019650523, 0.0031719664) (-0.0022573481, 0.0027778512) (-0.0025096063, 0.0023569837) (-0.0027193977, 0.0019134172) (-0.0028847017, 0.0014514234) (-0.0030039264, 0.00097545161) (-0.0030759236, 0.0004900857) (-0.0031, 0) (-0.0030759236, -0.0004900857) (-0.0030039264, -0.00097545161) (-0.0028847017, -0.0014514234) (-0.0027193977, -0.0019134172) (-0.0025096063, -0.0023569837) (-0.0022573481, -0.0027778512) (-0.0019650523, -0.0031719664) (-0.0016355339, -0.0035355339) (-0.0012719664, -0.0038650523) (-0.00087785117, -0.0041573481) (-0.00045698368, -0.0044096063) (-1.3417162e-05, -0.0046193977) (0.00044857661, -0.0047847017) (0.00092454839, -0.0049039264) (0.0014099143, -0.0049759236) (0.0019, -0.005) (0.0023900857, -0.0049759236) (0.0028754516, -0.0049039264) (0.0033514234, -0.0047847017) (0.0038134172, -0.0046193977) (0.0042569837, -0.0044096063) (0.0046778512, -0.0041573481) (0.0050719664, -0.0038650523) (0.0054355339, -0.0035355339) (0.0057650523, -0.0031719664) (0.0060573481, -0.0027778512) (0.0063096063, -0.0023569837) (0.0065193977, -0.0019134172) (0.0066847017, -0.0014514234) (0.0068039264, -0.00097545161) (0.0068759236, -0.0004900857) (0.0069, 0) (0.0068759236, 0.0004900857), closed, covered)
  final_design_3_Q2.subtract(Polyline3)
  JJ_rect_Lj_Q1_joseph = rectangle(corner=(0.00695, -2.5e-05, 2e-05), x_size=2.5e-05, y_size=5e-05)
  JJ_Lj_Q1_joseph_ = polyline((0.00695, 0, 2e-05) (0.006975, 0, 2e-05))
  ground_Q_chip_plane = rectangle(corner=(-0.0077, -0.0077, 2e-05), x_size=0.0154, y_size=0.0154)
  Q_chip [silicon] = box(corner=(-0.0077, -0.0077, 0.0003), size=(0.0154, 0.0154, -0.00028))
  ground_C_chip_plane = rectangle(corner=(-0.0077, -0.0077, 0), x_size=0.0154, y_size=0.0154)
  C_chip [silicon] = box(corner=(-0.0077, -0.0077, -0.00028), size=(0.0154, 0.0154, 0.00028))
  sample_holder [vacuum] = box(corner=(-0.0077, -0.0077, -0.00165), size=(0.0154, 0.0154, 0.00254))
  ground_Q_chip_plane.subtract(final_design_3_1_Q1, final_design_3_0_Q1)
  ground_C_chip_plane.subtract(final_design_3_Q2)
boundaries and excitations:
  Lj_Lj_Q1_joseph: Lumped RLC Objects=JJ_rect_Lj_Q1_joseph CurrentLine{(6.95, 0, 0.02) -> (6.975, 0, 0.02)} RLC_Type=Parallel Inductance=10nH
  PerfE: Perfect E Objects=[ground_Q_chip_plane, ground_C_chip_plane]
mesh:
  small_mesh: LengthBased Objects=JJ_rect_Lj_Q1_joseph MaxLength=7um
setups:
  Setup: HfssEigen MinimumFrequency=1.5GHz NumModes=3 MaxDeltaFreq=2 ConvergeOnRealFreq=true MaximumPasses=20 MinimumPasses=1 MinimumConvergedPasses=1 PercentRefinement=30 BasisOrder=1
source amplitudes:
  #-10:1: 1 0deg
  #-10:2, #-10:3: 0 0deg
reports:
  Freq. vs. pass: re(Mode(1)), re(Mode(2)), re(Mode(3)) vs Pass on Setup : AdaptivePass
